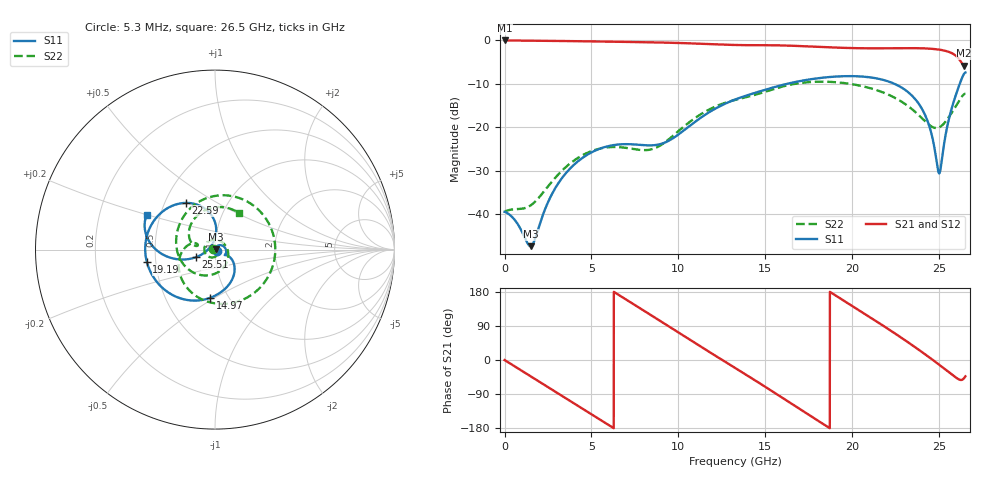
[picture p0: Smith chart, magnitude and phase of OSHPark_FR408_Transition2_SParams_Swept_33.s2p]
! TOUCHSTONE file generated by CST MICROWAVE STUDIO
! Date and time: Tue Jan  7 09:43:51 2020
! Project name: OSHPark_FR408_Transition2.cst
! Parameters = {GND_Plane_XMax=12.5; Cap_Disk_XOffset=0; Cap_Disk2_YCenter=-1.03; Cap_Disk_YCenter=1.03; Cap_Disk_XCenter=7.39; Cap_Disk_Radius=0.5; BottomSupport_Left_YMax=4.76; BottomSupport_Left_YMin=3.74; BottomSupport_Right_YMax=-3.74; BottomSupport_Right_YMin=-4.76; BottomSupport_XMax=11.64; B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
! Header version: 2015
! Port assignment regex: !\s*Touchstone port\s*([0-9]+)\s*=\s*CST MWS port\s*([0-9]+)\s*\(\"(.*)\"\)(\s*mode\s*([0-9]+))?.*
! Touchstone port assignment:
! Touchstone port 1 = CST MWS port 1 ("")
! Touchstone port 2 = CST MWS port 2 ("")
# GHz S MA R 50
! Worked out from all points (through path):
!   5000 points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, 5.3 MHz to 26.5 GHz, reference 50 ohm
!   highest |S21| = 0.00 dB at 10.6 MHz (marker M1); lowest = -5.8 dB at 26.43 GHz (marker M2)
!   group delay of S21, straight-line fit = 81.1 ps
!   lowest |S11| = -47.3 dB at 1.495 GHz (marker M3), VSWR 1.01, Z = 50.4 + j0.125 ohm
!   |S11| at or under -10 dB: start of sweep to 16.22 GHz; 22.44 GHz to 26.17 GHz (3.735 GHz wide, 15.4 % of centre)
!   |S22| runs from -39.3 to -9.5 dB; largest |S21 - S12| = 0
!   S11 on the Smith chart (normalised r, x): 5.3 MHz: 1.02, -0.01; 14.97 GHz: 0.82, -0.48; 19.19 GHz: 0.45, -0.07; 22.59 GHz: 0.64, +0.37; 25.51 GHz: 0.80, -0.07; 26.5 GHz: 0.42, +0.20
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0.0053  0.01072 -27.9  0.9999 -0.2  0.9999 -0.2  0.01088 150.0
0.0106  0.01073 -28.4  0.9999 -0.3  0.9999 -0.3  0.01087 150.2
1.4946  0.004316 16.7  0.9945 -42.8  0.9945 -42.8  0.01267 46.6
2.968  0.02083 61.5  0.9876 -85.0  0.9876 -85.0  0.02709 -49.5
4.4255  0.04384 32.5  0.979 -126.8  0.979 -126.8  0.04724 -111.9
6.5561  0.0637 -11.4  0.9651 172.1  0.9651 172.1  0.05939 162.0
8.8404  0.06351 -28.5  0.9482 106.3  0.9482 106.3  0.06017 30.2
10.017  0.08347 -25.8  0.9355 72.1  0.9355 72.1  0.09133 -39.6
11.3155  0.1306 -36.6  0.9162 34.5  0.9162 34.5  0.1431 -99.3
13.2553  0.2093 -68.0  0.8871 -20.9  0.8871 -20.9  0.2071 -172.5
14.9725  0.2705 -96.0  0.8816 -70.1  0.8816 -70.1  0.2569 131.1
16.2445  0.3172 -117.1  0.8731 -107.7  0.8731 -107.7  0.3041 84.0
17.6702  0.3597 -142.2  0.8507 -149.8  0.8507 -149.8  0.3334 25.4
19.186  0.3858 -169.6  0.826 166.1  0.826 166.1  0.3293 -37.5
20.7495  0.3818 160.4  0.8126 120.7  0.8126 120.7  0.2923 -98.6
22.0851  0.337 132.7  0.813 81.2  0.813 81.2  0.2374 -145.9
22.5886  0.3059 121.7  0.8147 65.9  0.8147 65.9  0.2113 -162.1
24.1097  0.1491 89.6  0.8111 17.5  0.8111 17.5  0.1216 162.6
24.9736  0.02987 136.5  0.7853 -11.8  0.7853 -11.8  0.09989 167.6
25.5142  0.116 -158.3  0.7426 -31.0  0.7426 -31.0  0.1286 166.1
26.4258  0.4142 161.2  0.5151 -47.6  0.5151 -47.6  0.2412 76.7
26.5  0.4276 152.5  0.5314 -43.1  0.5314 -43.1  0.2442 55.9
